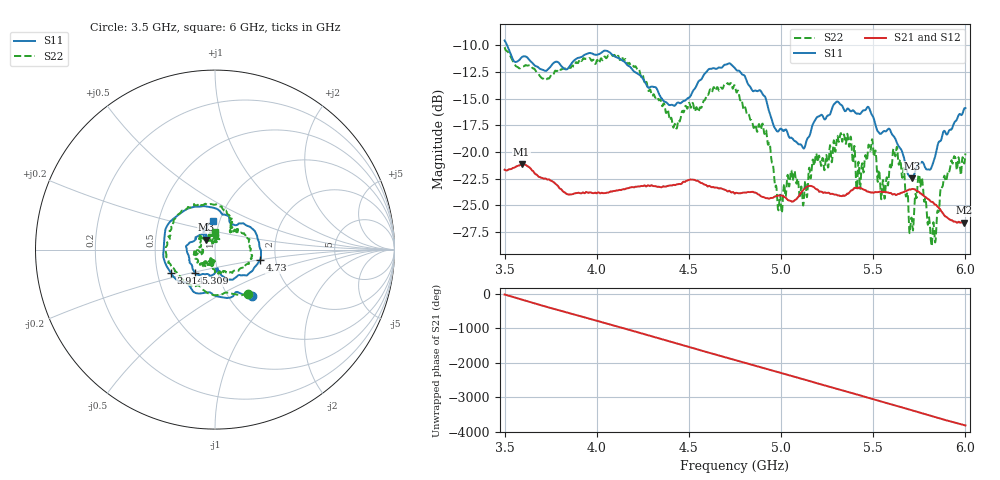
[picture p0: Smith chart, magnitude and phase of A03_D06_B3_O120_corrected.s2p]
! Created with skrf 1.9.0 (http://scikit-rf.org).
# Hz S RI R 50.0
!freq ReS11 ImS11 ReS21 ImS21 ReS12 ImS12 ReS22 ImS22
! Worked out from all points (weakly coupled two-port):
!   1601 points, 3.5 GHz to 6 GHz, reference 50 ohm
!   highest |S21| = -21.16 dB at 3.592 GHz (marker M1); lowest = -26.6 dB at 5.992 GHz (marker M2)
!   lowest |S11| = -22.5 dB at 5.711 GHz (marker M3), VSWR 1.16, Z = 45 + j5.08 ohm
!   |S11| at or under -10 dB: 3.513 GHz to end of sweep
!   |S22| runs from -28.8 to -10.2 dB; largest |S21 - S12| = 0.00097
!   S11 on the Smith chart (normalised r, x): 3.5 GHz: 1.28, -0.75; 3.914 GHz: 0.59, -0.16; 4.73 GHz: 1.65, -0.21; 5.309 GHz: 0.78, -0.21; 6 GHz: 0.93, +0.30
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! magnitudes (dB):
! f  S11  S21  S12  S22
! 3.5 GHz  -9.6  -21.7  -21.6  -10.2
! 3.592 GHz  -11.1  -21.2  -21.2  -12.1
! 3.914 GHz  -11.1  -23.9  -23.8  -11.4
! 3.917 GHz  -11.1  -23.9  -23.8  -11.5
! 4.334 GHz  -14.4  -23.3  -23.2  -15.1
! 4.425 GHz  -15.6  -23.1  -23.1  -17.4
! 4.73 GHz  -11.8  -23.8  -23.7  -13.6
! 4.75 GHz  -12.2  -23.9  -23.8  -13.8
! 4.911 GHz  -14.8  -24.3  -24.2  -18.3
! 4.994 GHz  -17.9  -24.1  -24.0  -24.0
! 5.167 GHz  -17.7  -23.2  -23.2  -21.3
! 5.309 GHz  -15.3  -24.1  -24.0  -18.8
! 5.419 GHz  -16.4  -23.4  -23.4  -21.0
! 5.486 GHz  -16.3  -23.8  -23.7  -19.9
! 5.584 GHz  -17.8  -23.8  -23.8  -22.4
! 5.636 GHz  -19.4  -23.9  -23.9  -20.9
! 5.711 GHz  -22.5  -23.5  -23.4  -26.6
! 5.755 GHz  -21.1  -23.9  -23.8  -23.0
! 5.827 GHz  -20.9  -24.8  -24.7  -26.6
! 5.877 GHz  -18.3  -25.7  -25.6  -23.2
! 5.992 GHz  -16.0  -26.6  -26.5  -21.0
! 6 GHz  -15.9  -26.6  -26.6  -20.1
